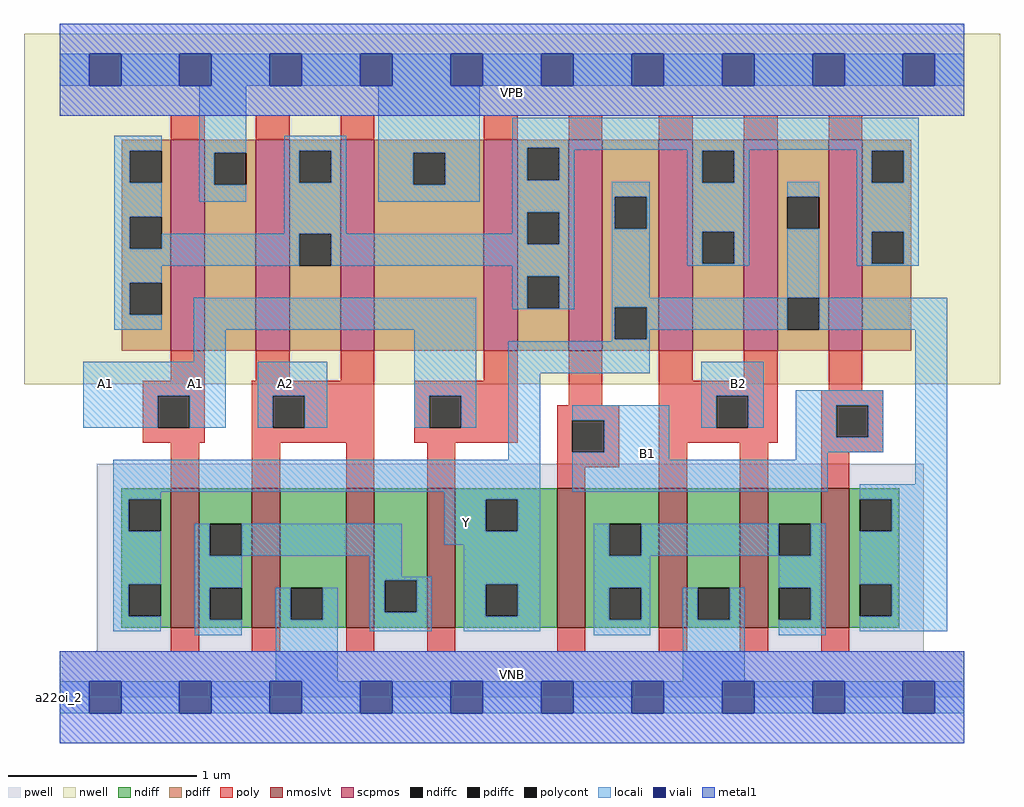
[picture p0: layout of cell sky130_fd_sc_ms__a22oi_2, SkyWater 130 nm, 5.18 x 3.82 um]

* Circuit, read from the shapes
.subckt sky130_fd_sc_ms__a22oi_2 A1 A2 B1 B2 VGND VNB VPB VPWR Y
XM1 n1 A1 Y VNB sky130_fd_pr__nfet_01v8_lvt w=0.74 l=0.15 m=2
XM2 VGND A2 n1 VNB sky130_fd_pr__nfet_01v8_lvt w=0.74 l=0.15 m=2
XM3 n2 B1 Y VNB sky130_fd_pr__nfet_01v8_lvt w=0.74 l=0.15 m=2
XM4 VGND B2 n2 VNB sky130_fd_pr__nfet_01v8_lvt w=0.74 l=0.15 m=2
XM5 VPWR A1 n3 VPB sky130_fd_pr__pfet_01v8 w=1.12 l=0.18 m=2
XM6 n3 A2 VPWR VPB sky130_fd_pr__pfet_01v8 w=1.12 l=0.18 m=2
XM7 Y B1 n3 VPB sky130_fd_pr__pfet_01v8 w=1.12 l=0.18 m=2
XM8 n3 B2 Y VPB sky130_fd_pr__pfet_01v8 w=1.12 l=0.18 m=2
.ends

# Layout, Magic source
magic
tech sky130A
magscale 1 2
<< nwell >>
rect -38 332 998 704
<< pwell >>
rect 39 49 917 248
rect 0 0 960 49
<< scpmos >>
rect 118 368 154 592
rect 208 368 244 592
rect 298 368 334 592
rect 450 368 486 592
rect 540 368 576 592
rect 636 368 672 592
rect 726 368 762 592
rect 816 368 852 592
<< nmoslvt >>
rect 118 74 148 222
rect 204 74 234 222
rect 304 74 334 222
rect 390 74 420 222
rect 528 74 558 222
rect 636 74 666 222
rect 722 74 752 222
rect 808 74 838 222
<< ndiff >>
rect 65 210 118 222
rect 65 176 73 210
rect 107 176 118 210
rect 65 120 118 176
rect 65 86 73 120
rect 107 86 118 120
rect 65 74 118 86
rect 148 184 204 222
rect 148 150 159 184
rect 193 150 204 184
rect 148 116 204 150
rect 148 82 159 116
rect 193 82 204 116
rect 148 74 204 82
rect 234 116 304 222
rect 234 82 245 116
rect 279 82 304 116
rect 234 74 304 82
rect 334 124 390 222
rect 334 90 345 124
rect 379 90 390 124
rect 334 74 390 90
rect 420 210 528 222
rect 420 176 452 210
rect 486 176 528 210
rect 420 120 528 176
rect 420 86 452 120
rect 486 86 528 120
rect 420 74 528 86
rect 558 184 636 222
rect 558 150 583 184
rect 617 150 636 184
rect 558 116 636 150
rect 558 82 583 116
rect 617 82 636 116
rect 558 74 636 82
rect 666 116 722 222
rect 666 82 677 116
rect 711 82 722 116
rect 666 74 722 82
rect 752 184 808 222
rect 752 150 763 184
rect 797 150 808 184
rect 752 116 808 150
rect 752 82 763 116
rect 797 82 808 116
rect 752 74 808 82
rect 838 210 891 222
rect 838 176 849 210
rect 883 176 891 210
rect 838 120 891 176
rect 838 86 849 120
rect 883 86 891 120
rect 838 74 891 86
<< pdiff >>
rect 66 580 118 592
rect 66 546 74 580
rect 108 546 118 580
rect 66 510 118 546
rect 66 476 74 510
rect 108 476 118 510
rect 66 440 118 476
rect 66 406 74 440
rect 108 406 118 440
rect 66 368 118 406
rect 154 578 208 592
rect 154 544 164 578
rect 198 544 208 578
rect 154 368 208 544
rect 244 580 298 592
rect 244 546 254 580
rect 288 546 298 580
rect 244 492 298 546
rect 244 458 254 492
rect 288 458 298 492
rect 244 368 298 458
rect 334 578 450 592
rect 334 544 375 578
rect 409 544 450 578
rect 334 368 450 544
rect 486 583 540 592
rect 486 549 496 583
rect 530 549 540 583
rect 486 515 540 549
rect 486 481 496 515
rect 530 481 540 515
rect 486 447 540 481
rect 486 413 496 447
rect 530 413 540 447
rect 486 368 540 413
rect 576 531 636 592
rect 576 497 589 531
rect 623 497 636 531
rect 576 414 636 497
rect 576 380 589 414
rect 623 380 636 414
rect 576 368 636 380
rect 672 580 726 592
rect 672 546 682 580
rect 716 546 726 580
rect 672 494 726 546
rect 672 460 682 494
rect 716 460 726 494
rect 672 368 726 460
rect 762 531 816 592
rect 762 497 772 531
rect 806 497 816 531
rect 762 424 816 497
rect 762 390 772 424
rect 806 390 816 424
rect 762 368 816 390
rect 852 580 904 592
rect 852 546 862 580
rect 896 546 904 580
rect 852 494 904 546
rect 852 460 862 494
rect 896 460 904 494
rect 852 368 904 460
<< ndiffc >>
rect 73 176 107 210
rect 73 86 107 120
rect 159 150 193 184
rect 159 82 193 116
rect 245 82 279 116
rect 345 90 379 124
rect 452 176 486 210
rect 452 86 486 120
rect 583 150 617 184
rect 583 82 617 116
rect 677 82 711 116
rect 763 150 797 184
rect 763 82 797 116
rect 849 176 883 210
rect 849 86 883 120
<< pdiffc >>
rect 74 546 108 580
rect 74 476 108 510
rect 74 406 108 440
rect 164 544 198 578
rect 254 546 288 580
rect 254 458 288 492
rect 375 544 409 578
rect 496 549 530 583
rect 496 481 530 515
rect 496 413 530 447
rect 589 497 623 531
rect 589 380 623 414
rect 682 546 716 580
rect 682 460 716 494
rect 772 497 806 531
rect 772 390 806 424
rect 862 546 896 580
rect 862 460 896 494
<< poly >>
rect 118 592 154 618
rect 208 592 244 618
rect 298 592 334 618
rect 450 592 486 618
rect 540 592 576 618
rect 636 592 672 618
rect 726 592 762 618
rect 816 592 852 618
rect 118 336 154 368
rect 208 336 244 368
rect 298 336 334 368
rect 450 336 486 368
rect 88 320 154 336
rect 88 286 104 320
rect 138 286 154 320
rect 88 270 154 286
rect 204 320 334 336
rect 204 286 226 320
rect 260 286 334 320
rect 204 270 334 286
rect 376 320 486 336
rect 376 286 392 320
rect 426 286 486 320
rect 540 310 576 368
rect 636 336 672 368
rect 726 336 762 368
rect 636 320 762 336
rect 816 326 852 368
rect 376 270 486 286
rect 528 294 594 310
rect 118 222 148 270
rect 204 222 234 270
rect 304 222 334 270
rect 390 222 420 270
rect 528 260 544 294
rect 578 260 594 294
rect 528 244 594 260
rect 636 286 697 320
rect 731 286 762 320
rect 636 270 762 286
rect 808 310 874 326
rect 808 276 824 310
rect 858 276 874 310
rect 528 222 558 244
rect 636 222 666 270
rect 722 222 752 270
rect 808 260 874 276
rect 808 222 838 260
rect 118 48 148 74
rect 204 48 234 74
rect 304 48 334 74
rect 390 48 420 74
rect 528 48 558 74
rect 636 48 666 74
rect 722 48 752 74
rect 808 48 838 74
<< polycont >>
rect 104 286 138 320
rect 226 286 260 320
rect 392 286 426 320
rect 544 260 578 294
rect 697 286 731 320
rect 824 276 858 310
<< locali >>
rect 0 649 31 683
rect 65 649 127 683
rect 161 649 223 683
rect 257 649 319 683
rect 353 649 415 683
rect 449 649 511 683
rect 545 649 607 683
rect 641 649 703 683
rect 737 649 799 683
rect 833 649 895 683
rect 929 649 960 683
rect 58 580 108 596
rect 58 546 74 580
rect 58 510 108 546
rect 148 578 198 649
rect 148 544 164 578
rect 148 526 198 544
rect 238 580 304 596
rect 238 546 254 580
rect 288 546 304 580
rect 58 476 74 510
rect 238 492 304 546
rect 338 578 446 649
rect 338 544 375 578
rect 409 544 446 578
rect 338 526 446 544
rect 480 583 912 615
rect 480 549 496 583
rect 530 581 912 583
rect 530 549 546 581
rect 480 515 546 549
rect 666 580 732 581
rect 480 492 496 515
rect 108 476 254 492
rect 58 458 254 476
rect 288 481 496 492
rect 530 481 546 515
rect 288 458 546 481
rect 58 440 108 458
rect 58 406 74 440
rect 480 447 546 458
rect 58 390 108 406
rect 142 390 442 424
rect 480 413 496 447
rect 530 413 546 447
rect 480 412 546 413
rect 586 531 626 547
rect 586 497 589 531
rect 623 497 626 531
rect 586 424 626 497
rect 666 546 682 580
rect 716 546 732 580
rect 846 580 912 581
rect 666 494 732 546
rect 666 460 682 494
rect 716 460 732 494
rect 666 458 732 460
rect 772 531 806 547
rect 772 424 806 497
rect 846 546 862 580
rect 896 546 912 580
rect 846 494 912 546
rect 846 460 862 494
rect 896 460 912 494
rect 846 458 912 460
rect 586 414 772 424
rect 142 356 176 390
rect 25 320 176 356
rect 25 286 104 320
rect 138 286 176 320
rect 210 320 284 356
rect 210 286 226 320
rect 260 286 284 320
rect 376 320 442 390
rect 586 380 589 414
rect 623 390 772 414
rect 806 390 942 424
rect 623 380 626 390
rect 586 378 626 380
rect 376 286 392 320
rect 426 286 442 320
rect 476 344 626 378
rect 476 252 510 344
rect 681 320 747 356
rect 57 218 510 252
rect 544 294 647 310
rect 578 260 647 294
rect 681 286 697 320
rect 731 286 747 320
rect 781 310 874 326
rect 544 252 647 260
rect 781 276 824 310
rect 858 276 874 310
rect 781 260 874 276
rect 781 252 815 260
rect 544 218 815 252
rect 908 226 942 390
rect 57 210 107 218
rect 57 176 73 210
rect 408 210 510 218
rect 57 120 107 176
rect 57 86 73 120
rect 57 70 107 86
rect 143 150 159 184
rect 193 150 363 184
rect 408 176 452 210
rect 486 176 510 210
rect 849 210 942 226
rect 408 162 510 176
rect 143 116 193 150
rect 329 128 363 150
rect 329 124 395 128
rect 143 82 159 116
rect 143 66 193 82
rect 229 82 245 116
rect 279 82 295 116
rect 229 17 295 82
rect 329 90 345 124
rect 379 90 395 124
rect 329 70 395 90
rect 429 120 510 162
rect 429 86 452 120
rect 486 86 510 120
rect 429 70 510 86
rect 567 150 583 184
rect 617 150 763 184
rect 797 150 813 184
rect 567 116 627 150
rect 763 116 813 150
rect 567 82 583 116
rect 617 82 627 116
rect 567 66 627 82
rect 661 82 677 116
rect 711 82 727 116
rect 661 17 727 82
rect 797 82 813 116
rect 763 66 813 82
rect 883 176 942 210
rect 849 120 942 176
rect 883 86 942 120
rect 849 70 942 86
rect 0 -17 31 17
rect 65 -17 127 17
rect 161 -17 223 17
rect 257 -17 319 17
rect 353 -17 415 17
rect 449 -17 511 17
rect 545 -17 607 17
rect 641 -17 703 17
rect 737 -17 799 17
rect 833 -17 895 17
rect 929 -17 960 17
<< viali >>
rect 31 649 65 683
rect 127 649 161 683
rect 223 649 257 683
rect 319 649 353 683
rect 415 649 449 683
rect 511 649 545 683
rect 607 649 641 683
rect 703 649 737 683
rect 799 649 833 683
rect 895 649 929 683
rect 31 -17 65 17
rect 127 -17 161 17
rect 223 -17 257 17
rect 319 -17 353 17
rect 415 -17 449 17
rect 511 -17 545 17
rect 607 -17 641 17
rect 703 -17 737 17
rect 799 -17 833 17
rect 895 -17 929 17
<< metal1 >>
rect 0 683 960 715
rect 0 649 31 683
rect 65 649 127 683
rect 161 649 223 683
rect 257 649 319 683
rect 353 649 415 683
rect 449 649 511 683
rect 545 649 607 683
rect 641 649 703 683
rect 737 649 799 683
rect 833 649 895 683
rect 929 649 960 683
rect 0 617 960 649
rect 0 17 960 49
rect 0 -17 31 17
rect 65 -17 127 17
rect 161 -17 223 17
rect 257 -17 319 17
rect 353 -17 415 17
rect 449 -17 511 17
rect 545 -17 607 17
rect 641 -17 703 17
rect 737 -17 799 17
rect 833 -17 895 17
rect 929 -17 960 17
rect 0 -49 960 -17
<< labels >>
flabel pwell s 0 0 960 49 0 FreeSans 200 0 0 0 VNB
port 6 nsew ground bidirectional
flabel nwell s 0 617 960 666 0 FreeSans 200 0 0 0 VPB
port 7 nsew power bidirectional
rlabel comment s 0 0 0 0 4 a22oi_2
flabel metal1 s 0 617 960 666 0 FreeSans 340 0 0 0 VPWR
port 8 nsew power bidirectional
flabel metal1 s 0 0 960 49 0 FreeSans 340 0 0 0 VGND
port 5 nsew ground bidirectional
flabel locali s 703 316 737 350 0 FreeSans 340 0 0 0 B2
port 4 nsew signal input
flabel locali s 223 316 257 350 0 FreeSans 340 0 0 0 A2
port 2 nsew signal input
flabel locali s 31 316 65 350 0 FreeSans 340 0 0 0 A1
port 1 nsew signal input
flabel locali s 127 316 161 350 0 FreeSans 340 0 0 0 A1
port 1 nsew signal input
flabel locali s 415 168 449 202 0 FreeSans 340 0 0 0 Y
port 9 nsew signal output
flabel locali s 607 242 641 276 0 FreeSans 340 0 0 0 B1
port 3 nsew signal input
<< properties >>
string LEFsite unit
string LEFclass CORE
string FIXED_BBOX 0 0 960 666
string GDS_FILE $PDKPATH/libs.ref/sky130_fd_sc_ms/gds/sky130_fd_sc_ms.gds
string LEFsymmetry X Y
string GDS_END 360148
string GDS_START 352162
<< end >>
